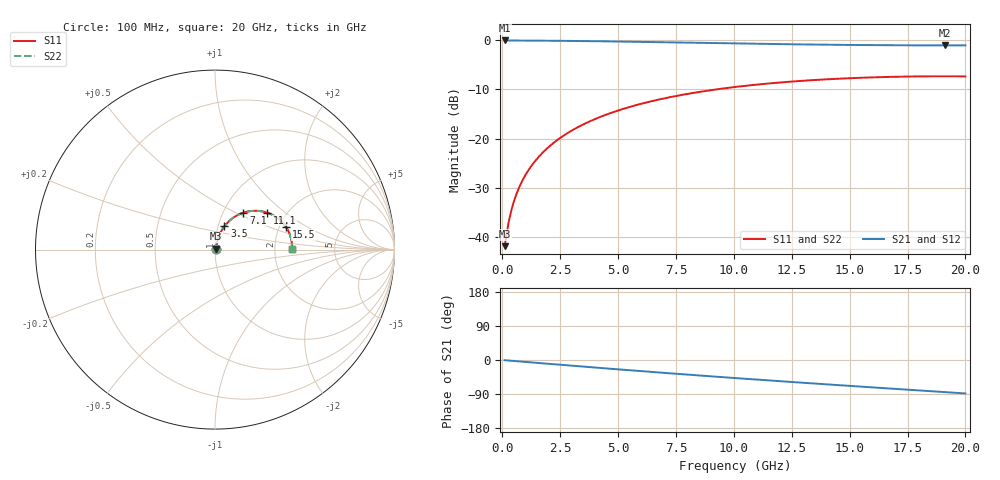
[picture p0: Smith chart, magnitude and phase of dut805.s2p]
! Touchstone file exported from HFSS 2026.1.0
!  File:  C:/ffzhzh/LocalFiles/Ansys_Project_Files/temp_train_TSV_RDL_805_1783263621_5512.aedt
!  Generated:  11:07:16 PM Jul  5, 2026
!  Design:  TSV_RDL
!  Project:  temp_train_TSV_RDL_805_1783263621_5512
! Variables:
!  h_bsmrdl = 3.21um
!  h_ox = 20um
!  h_rdl = 5um
!  h_sub = 56.97um
!  h_tmrdl = 3.7um
!  h_tsv = 56.97um
!  h_via = 3um
!  l_bsmrdl = 184.01um
!  l_sub = 1534.12um
!  l_tmrdl = 116.28um
!  m_sub = 200um
!  pitch = 45.22um
!  r_tsv = 10.36um
!  s_tmrdl = 10um
!  w_bsmrdl = 21.87um
!  w_sub = 500um
!  w_tmrdl = 17.12um
!  x_tsv_center1 = 124.84um
!  x_tsv_center2 = 330.72um
!  x_tsv_center3 = 464.12um
!  x_tsv_center4 = 670um
!  x_tsv_center5 = 803.4um
!  x_tsv_center6 = 1009.28um
# GHz S MA R 50.000000
! Terminal data exported
! Port[1] = TM_RDL1_1_T1
! Port[2] = TM_RDL5_1_T1
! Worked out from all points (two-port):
!   200 points, 100 MHz to 20 GHz, reference 50 ohm
!   highest |S21| = -0.06 dB at 100 MHz (marker M1); lowest = -1.1 dB at 19.1 GHz (marker M2)
!   |S21| within 3 dB of the highest: start of sweep to end of sweep
!   lowest |S11| = -41.9 dB at 100 MHz (marker M3), VSWR 1.02, Z = 50.7 + j0.452 ohm
!   |S11| at or under -10 dB: start of sweep to 9.25 GHz
!   |S22| runs from -41.9 to -7.3 dB; largest |S21 - S12| = 2e-15
!   S11 on the Smith chart (normalised r, x): 100 MHz: 1.01, +0.01; 3.5 GHz: 1.07, +0.28; 7.1 GHz: 1.24, +0.55; 11.1 GHz: 1.60, +0.75; 15.5 GHz: 2.17, +0.66; 20 GHz: 2.50, +0.01
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0.1  0.008077 33.5  0.9933 -0.5  0.9933 -0.5  0.008077 33.5
! Gamma 0 0 0 0
! Port Impedance 50 0 50 0
0.2  0.01132 51.3  0.9931 -1.1  0.9931 -1.1  0.01132 51.3
0.3  0.01511 60.0  0.9927 -1.6  0.9927 -1.6  0.01511 60.0
0.4  0.01903 64.8  0.9924 -2.1  0.9924 -2.1  0.01903 64.8
0.5  0.02297 67.7  0.992 -2.6  0.992 -2.6  0.02297 67.7
0.6  0.02691 69.7  0.9917 -3.1  0.9917 -3.1  0.02691 69.7
0.8  0.03478 72.0  0.9911 -4.1  0.9911 -4.1  0.03478 72.0
1.1  0.0466 73.6  0.9902 -5.6  0.9902 -5.6  0.0466 73.6
1.6  0.06635 74.0  0.9887 -8.1  0.9887 -8.1  0.06635 74.0
2.1  0.086 73.0  0.9868 -10.6  0.9868 -10.6  0.086 73.0
2.7  0.1093 71.2  0.984 -13.5  0.984 -13.5  0.1093 71.2
3.5  0.1395 68.1  0.9794 -17.5  0.9794 -17.5  0.1395 68.1
5  0.193 61.7  0.9689 -24.7  0.9689 -24.7  0.193 61.7
6.8  0.2506 53.7  0.9542 -33.1  0.9542 -33.1  0.2506 53.7
7.1  0.2595 52.4  0.9516 -34.5  0.9516 -34.5  0.2595 52.4
10.1  0.3354 39.5  0.926 -47.9  0.926 -47.9  0.3354 39.5
11.1  0.3557 35.4  0.9181 -52.2  0.9181 -52.2  0.3557 35.4
13.4  0.3927 26.0  0.9025 -61.8  0.9025 -61.8  0.3927 26.0
15.5  0.4152 17.7  0.8923 -70.3  0.8923 -70.3  0.4152 17.7
16.7  0.4234 13.0  0.8884 -75.1  0.8884 -75.1  0.4234 13.0
19.1  0.4296 3.7  0.8852 -84.7  0.8852 -84.7  0.4296 3.7
20  0.4285 0.3  0.8857 -88.3  0.8857 -88.3  0.4285 0.3
